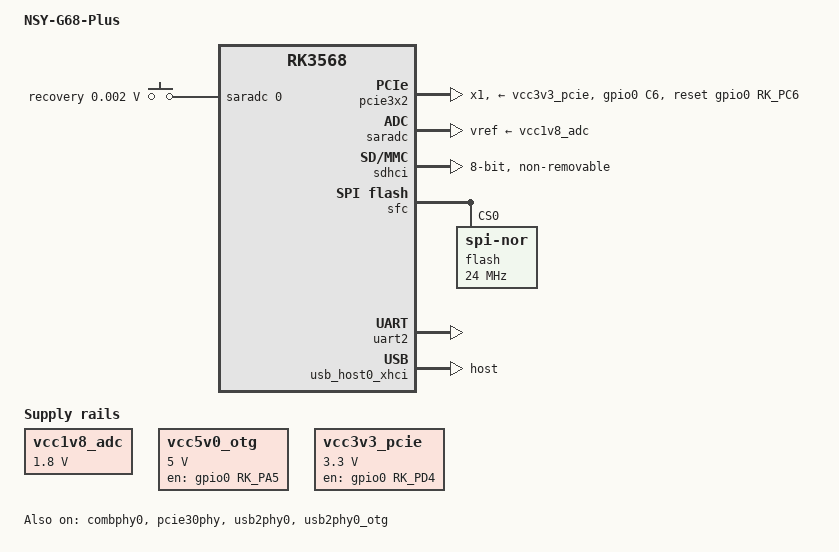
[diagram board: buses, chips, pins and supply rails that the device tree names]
// SPDX-License-Identifier: (GPL-2.0+ OR MIT)
/*
 * Minimal NSY-G68-Plus device tree for U-Boot: eMMC, SPI flash, serial
 * console, the USB 3.0 port, the reset button and the M.2 slot, which sits
 * on the second link of the PCIe 3.0 PHY split into two x1 links (the first
 * one carries the MT7916).
 *
 * Only what booting needs is described, so U-Boot leaves every other pin of
 * the board alone (GPIO0_B6 for one powers the board off when driven low).
 */

/dts-v1/;

#include <dt-bindings/gpio/gpio.h>
#include <dt-bindings/input/input.h>
#include <dt-bindings/pinctrl/rockchip.h>
#include "rk3568.dtsi"

/ {
	model = "NSY-G68-Plus";
	compatible = "nsy,g68-plus", "rockchip,rk3568";

	aliases {
		mmc0 = &sdhci;
	};

	chosen {
		stdout-path = "serial2:1500000n8";
	};

	/* The reset button pulls SARADC channel 0 from 1.8 V down to 0 V */
	adc-keys {
		compatible = "adc-keys";
		io-channels = <&saradc 0>;
		io-channel-names = "buttons";
		keyup-threshold-microvolt = <1800000>;

		button-recovery {
			label = "recovery";
			linux,code = <KEY_VENDOR>;
			press-threshold-microvolt = <1750>;
		};
	};

	vcc1v8_adc: regulator-vcc1v8-adc {
		compatible = "regulator-fixed";
		regulator-name = "vcc1v8_adc";
		regulator-always-on;
		regulator-boot-on;
		regulator-min-microvolt = <1800000>;
		regulator-max-microvolt = <1800000>;
	};

	/* VBUS of the USB 3.0 port */
	vcc5v0_otg: regulator-vcc5v0-otg {
		compatible = "regulator-fixed";
		regulator-name = "vcc5v0_otg";
		regulator-min-microvolt = <5000000>;
		regulator-max-microvolt = <5000000>;
		enable-active-high;
		gpio = <&gpio0 RK_PA5 GPIO_ACTIVE_HIGH>;
		pinctrl-names = "default";
		pinctrl-0 = <&vcc5v0_otg_en>;
	};

	vcc3v3_pcie: regulator-vcc3v3-pcie {
		compatible = "regulator-fixed";
		regulator-name = "vcc3v3_pcie";
		regulator-min-microvolt = <3300000>;
		regulator-max-microvolt = <3300000>;
		enable-active-high;
		gpio = <&gpio0 RK_PD4 GPIO_ACTIVE_HIGH>;
		pinctrl-names = "default";
		pinctrl-0 = <&vcc3v3_pcie_en>;
		startup-delay-us = <5000>;
	};
};

/* USB 3.0 PHY of the USB port */
&combphy0 {
	status = "okay";
};

&pcie30phy {
	data-lanes = <1 2>;
	status = "okay";
};

/* M.2 slot */
&pcie3x2 {
	num-lanes = <1>;
	pinctrl-names = "default";
	pinctrl-0 = <&pcie30x2_reset_h>;
	reset-gpios = <&gpio0 RK_PC6 GPIO_ACTIVE_HIGH>;
	vpcie3v3-supply = <&vcc3v3_pcie>;
	status = "okay";
};

&pinctrl {
	g68-pcie {
		pcie30x2_reset_h: pcie30x2-reset-h {
			rockchip,pins = <0 RK_PC6 RK_FUNC_GPIO &pcfg_pull_none>;
		};

		vcc3v3_pcie_en: vcc3v3-pcie-en {
			rockchip,pins = <0 RK_PD4 RK_FUNC_GPIO &pcfg_pull_none>;
		};
	};

	g68-usb {
		vcc5v0_otg_en: vcc5v0-otg-en {
			rockchip,pins = <0 RK_PA5 RK_FUNC_GPIO &pcfg_pull_none>;
		};
	};
};

&saradc {
	vref-supply = <&vcc1v8_adc>;
	status = "okay";
};

&sdhci {
	bus-width = <8>;
	max-frequency = <200000000>;
	mmc-hs200-1_8v;
	no-sd;
	no-sdio;
	non-removable;
	pinctrl-names = "default";
	pinctrl-0 = <&emmc_bus8 &emmc_clk &emmc_cmd &emmc_datastrobe>;
	status = "okay";
};

/* Winbond W25Q256JW */
&sfc {
	#address-cells = <1>;
	#size-cells = <0>;
	status = "okay";

	flash@0 {
		compatible = "jedec,spi-nor";
		reg = <0>;
		spi-max-frequency = <24000000>;
	};
};

&uart2 {
	status = "okay";
};

/* USB 3.0 port, host only */
&usb_host0_xhci {
	dr_mode = "host";
	status = "okay";
};

&usb2phy0 {
	status = "okay";
};

&usb2phy0_otg {
	phy-supply = <&vcc5v0_otg>;
	status = "okay";
};
